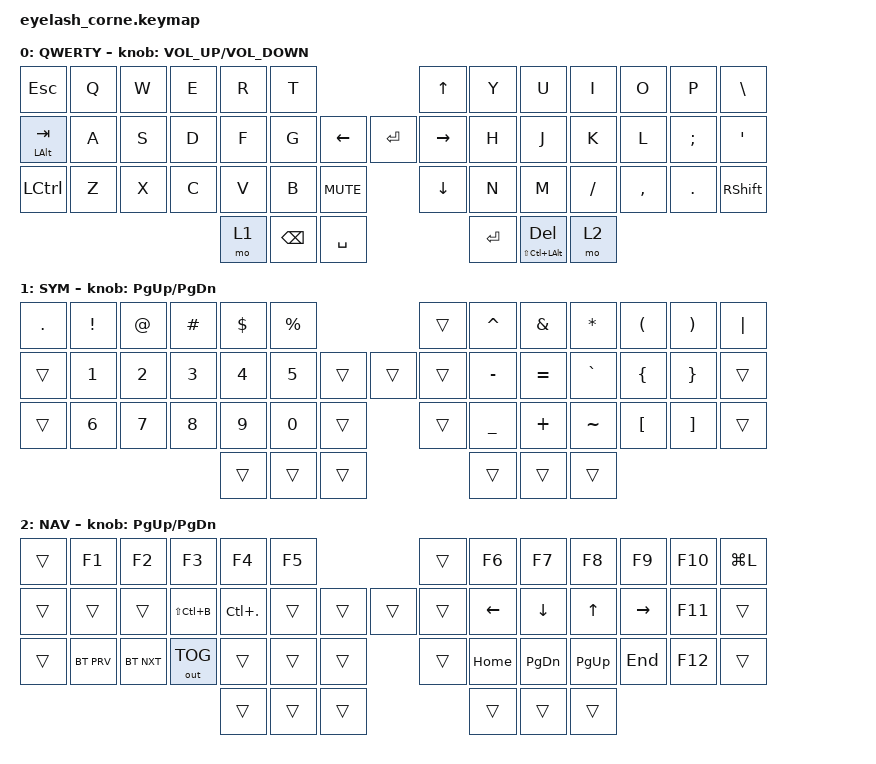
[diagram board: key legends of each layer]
/*
 * Copyright (c) 2024 The ZMK Contributors
 *
 * SPDX-License-Identifier: MIT
 */

#include <behaviors.dtsi>
#include <dt-bindings/zmk/bt.h>
#include <dt-bindings/zmk/keys.h>
#include <dt-bindings/zmk/outputs.h>

#define MEH LS(LC(LALT))

/ {
    combos {
        compatible = "zmk,combos";

        cut {
            bindings = <&kp LC(X)>;
            key-positions = <29 30>;
            layers = <0>;
        };

        copy {
            bindings = <&kp LC(C)>;
            key-positions = <30 31>;
            layers = <0>;
        };

        paste {
            bindings = <&kp LC(V)>;
            key-positions = <31 32>;
            layers = <0>;
        };

        caps_word {
            bindings = <&caps_word>;
            key-positions = <5 7>;
            layers = <0>;
        };

        escape {
            bindings = <&kp ESCAPE>;
            key-positions = <23 24>;
            layers = <0>;
        };

        reset_bluetooth {
            bindings = <&bt BT_CLR>;
            key-positions = <3 4 5 7 8 9>;
            layers = <2>;
        };

        bootloader_left {
            bindings = <&bootloader>;
            key-positions = <1 2 3>;
            layers = <2>;
        };

        bootloader_right {
            bindings = <&bootloader>;
            key-positions = <10 11 12>;
            layers = <2>;
        };
    };

    keymap {
        compatible = "zmk,keymap";

        default_layer {
            display-name = "QWERTY";
            bindings = <
&kp ESCAPE    &kp Q  &kp W  &kp E  &kp R          &kp T                                &kp UP                  &kp Y    &kp U           &kp I     &kp O      &kp P     &kp BACKSLASH
&mt LALT TAB  &kp A  &kp S  &kp D  &kp F          &kp G                &kp LEFT  &kp ENTER  &kp RIGHT           &kp H    &kp J           &kp K     &kp L      &kp SEMI  &kp SQT
&kp LCTRL     &kp Z  &kp X  &kp C  &kp V          &kp B    &kp C_MUTE              &kp DOWN                     &kp N    &kp M           &kp FSLH  &kp COMMA  &kp DOT   &kp RSHIFT
                                    &mo 1  &kp BACKSPACE  &kp SPACE                                              &kp RET  &mt MEH DELETE  &mo 2
            >;

            sensor-bindings = <&inc_dec_kp C_VOLUME_UP C_VOLUME_DOWN>;
        };

        symbols {
            display-name = "SYM";
            bindings = <
&kp PERIOD  &kp EXCLAMATION  &kp AT_SIGN   &kp HASH      &kp DOLLAR    &kp PERCENT                         &trans                  &kp CARET       &kp AMPERSAND  &kp ASTERISK  &kp LEFT_PARENTHESIS  &kp RIGHT_PARENTHESIS  &kp PIPE
&trans      &kp NUMBER_1     &kp NUMBER_2  &kp NUMBER_3  &kp NUMBER_4  &kp NUMBER_5        &trans  &trans  &trans                   &kp MINUS       &kp EQUAL      &kp GRAVE     &kp LEFT_BRACE        &kp RIGHT_BRACE        &trans
&trans      &kp NUMBER_6     &kp NUMBER_7  &kp NUMBER_8  &kp NUMBER_9  &kp NUMBER_0  &trans           &trans                       &kp UNDERSCORE  &kp PLUS       &kp TILDE     &kp LEFT_BRACKET      &kp RIGHT_BRACKET      &trans
                                           &trans        &trans        &trans                                                       &trans          &trans         &trans
            >;

            sensor-bindings = <&inc_dec_kp PG_UP PG_DN>;
        };

        nav {
            display-name = "NAV";
            bindings = <
&trans  &kp F1      &kp F2      &kp F3         &kp F4          &kp F5                           &trans                  &kp F6          &kp F7         &kp F8        &kp F9     &kp F10  &kp LG(L)
&trans  &trans      &trans      &kp LS(LC(B))  &kp LC(PERIOD)  &trans          &trans  &trans  &trans                   &kp LEFT_ARROW  &kp DOWN       &kp UP_ARROW  &kp RIGHT  &kp F11  &trans
&trans  &bt BT_PRV  &bt BT_NXT  &out OUT_TOG   &trans          &trans  &trans           &trans                          &kp HOME        &kp PAGE_DOWN  &kp PAGE_UP   &kp END    &kp F12  &trans
                                &trans         &trans          &trans                                                    &trans          &trans         &trans
            >;

            sensor-bindings = <&inc_dec_kp PG_UP PG_DN>;
        };
    };
};
